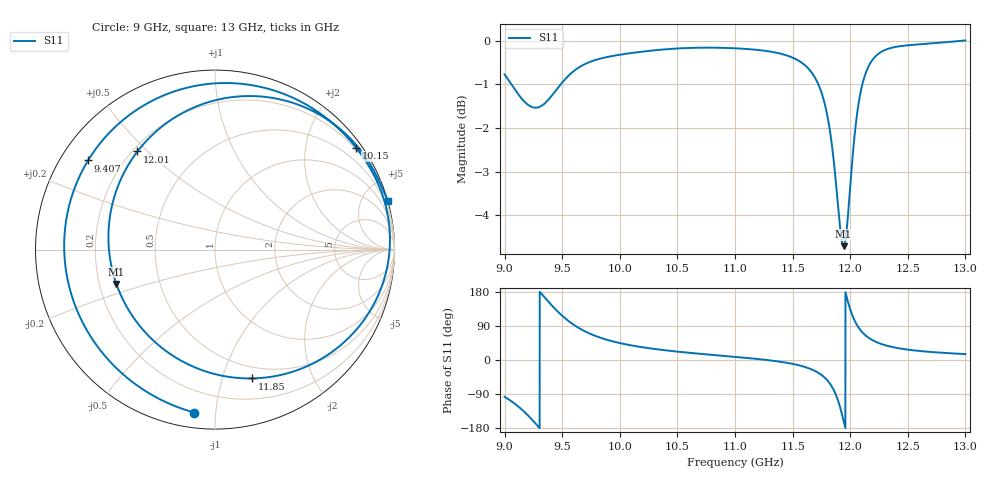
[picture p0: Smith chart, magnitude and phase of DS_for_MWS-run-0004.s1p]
! TOUCHSTONE file generated by CST DESIGN STUDIO
! Date and time: Tue Feb  4 14:26:46 2025
! Project name: C:\Work\MatlabApps\UnitCellOptimizationMatlab\CST\unitcell.cst
! Tree item: Tasks\Sweep1\SPara1\S-Parameters
! Header version: 2024
! Port assignment regex: !\s*Touchstone port\s*([0-9]+)\s*=\s*(CST MWS port|CST DES external port|CST DES block port)\s*(.+)\s* \(\"(.*)\"\)(\s*mode\s*([0-9]+))?.*
! Touchstone port assignment:
! Touchstone port 1 = CST DES external port 1 ("")
# GHz S MA R 50
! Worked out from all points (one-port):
!   4001 points, 9 GHz to 13 GHz, reference 50 ohm
!   lowest |S11| = -4.7 dB at 11.94 GHz (marker M1), VSWR 3.78, Z = 13.6 - j7.87 ohm
!   |S11| at or under -10 dB: nowhere
!   S11 on the Smith chart (normalised r, x): 9 GHz: 0.08, -0.88; 9.407 GHz: 0.08, +0.31; 10.15 GHz: 0.16, +3.09; 11.85 GHz: 0.39, -1.25; 12.01 GHz: 0.22, +0.47; 13 GHz: -0.01, +7.31
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9  0.9149 -97.2
9.131  0.8639 -125.9
9.254  0.8384 -162.6
9.33  0.8438 171.3
9.407  0.8642 144.9
9.5  0.8954 116.8
9.6  0.9229 93.0
9.732  0.9446 70.7
10  0.9636 44.7
10.151  0.9698 35.8
10.5  0.9796 22.1
11  0.9801 8.3
11.5  0.9563 -10.2
11.723  0.8916 -33.7
11.791  0.8336 -50.2
11.848  0.7468 -74.0
11.897  0.6416 -109.3
11.943  0.5818 -160.8
11.97  0.6084 165.7
12  0.6805 133.8
12.006  0.6969 128.3
12.037  0.7767 104.9
12.072  0.846 86.1
12.125  0.9102 67.2
12.185  0.9472 53.9
12.308  0.9765 38.6
12.5  0.9879 27.3
13  1.001 15.6
